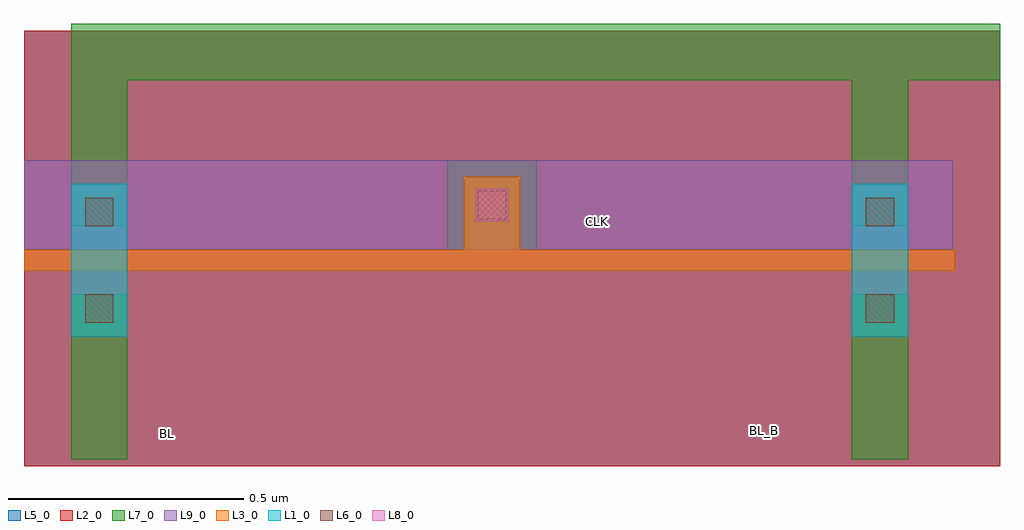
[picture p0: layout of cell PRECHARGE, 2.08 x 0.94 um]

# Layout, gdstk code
from math import pi, radians
import gdstk
lib = gdstk.Library(unit=1e-6, precision=5e-10)
def R(c, l, rs):  # rectangles x0, y0, x1, y1
    for r in rs: c.add(gdstk.rectangle(r[:2], r[2:], *l))
L1_0 = (1, 0)
L2_0 = (2, 0)
L3_0 = (3, 0)
L5_0 = (5, 0)
L6_0 = (6, 0)
L7_0 = (7, 0)
L8_0 = (8, 0)
L9_0 = (9, 0)

pmos = lib.new_cell('PMOS')
R(pmos, L1_0, [(-0.185,-0.055,0.14,0.065)])
R(pmos, L2_0, [(-0.245,-0.115,0.2,0.125)])
R(pmos, L3_0, [(-0.045,-0.155,0,0.165)])
R(pmos, L5_0, [(-0.255,-0.155,0.21,0.165)])
R(pmos, L6_0, [(-0.155,-0.025,-0.095,0.035), (0.05,-0.025,0.11,0.035)])
R(pmos, L7_0, [(-0.155,-0.055,-0.095,0.065), (0.05,-0.055,0.11,0.065)])

precharge = lib.new_cell('PRECHARGE')
R(precharge, L2_0, [(-0.22,-0.655,1.855,0.27)])
R(precharge, L3_0, [(0.1,-0.24,1.44,-0.195), (0.715,-0.195,0.835,-0.04)])
R(precharge, L5_0, [(-0.22,-0.655,1.855,0.27)])
R(precharge, L6_0, [(0.745,-0.13,0.805,-0.07)])
R(precharge, L7_0, [(-0.12,-0.64,0,-0.35), (-0.12,-0.64,0,-0.54), (1.54,-0.64,1.66,-0.35), (1.54,-0.64,1.66,-0.535), (0.68,-0.195,0.87,-0.005), (-0.12,-0.085,0,0.165), (1.54,-0.085,1.66,0.165), (-0.12,0.165,1.855,0.285), (0.715,0.165,0.835,0.285)])
R(precharge, L8_0, [(0.74,-0.135,0.81,-0.065)])
R(precharge, L9_0, [(-0.22,-0.195,1.755,-0.005), (0.74,-0.135,0.81,-0.065)])
precharge.add(gdstk.Reference(pmos, (1.605,-0.195), rotation=pi/2))
precharge.add(gdstk.Reference(pmos, (-0.055,-0.195), rotation=pi/2))
precharge.add(gdstk.Label('BL', (0.085,-0.585), layer=7, texttype=0))
precharge.add(gdstk.Label('BL_B', (1.355,-0.58), layer=7, texttype=0))
precharge.add(gdstk.Label('VDD', (0.78,0.345), layer=7, texttype=0))
precharge.add(gdstk.Label('CLK', (1,-0.135), layer=9, texttype=0))

lib.write_gds('PRECHARGE.gds')
